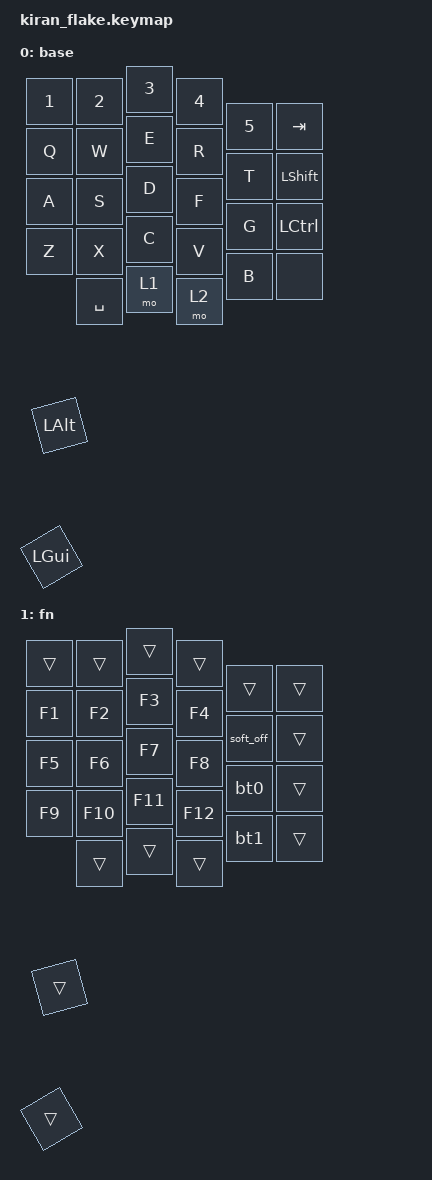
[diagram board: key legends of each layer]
#include <behaviors.dtsi>
#include <dt-bindings/zmk/bt.h>
#include <dt-bindings/zmk/keys.h>

/ {
    keymap {
        compatible = "zmk,keymap";

        base {
            // 6 columns x 5 rows = 30 positions. Row-major order.
            // Bottom row has only 5 physical keys; Row 4 Col 0 is unused -> &none.
            bindings = <
&kp ESC    &kp N1    &kp N2    &kp N3     &kp N4     &kp N5
&kp TAB    &kp Q     &kp W     &kp E      &kp R      &kp T
&kp LSHFT  &kp A     &kp S     &kp D      &kp F      &kp G
&kp LCTRL  &kp Z     &kp X     &kp C      &kp V      &kp B
&none      &kp LGUI  &kp LALT  &kp SPACE  &mo 1      &mo 2
            >;
        };

        fn {
            bindings = <
&trans &trans &trans &trans &trans &trans
&trans &kp F1 &kp F2 &kp F3 &kp F4 &soft_off
&trans &kp F5 &kp F6 &kp F7 &kp F8 &bt0
&trans &kp F9 &kp F10 &kp F11 &kp F12 &bt1
&trans &trans &trans &trans &trans &trans
            >;
        };
    };
};
